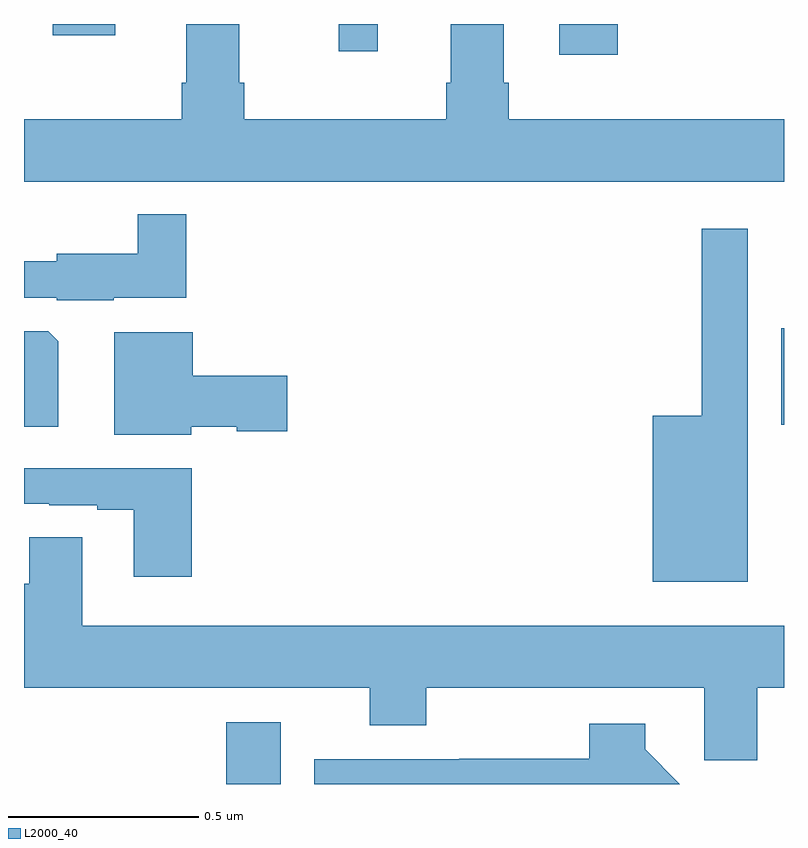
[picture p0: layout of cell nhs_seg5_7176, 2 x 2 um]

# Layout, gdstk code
import gdstk
lib = gdstk.Library(unit=1e-6, precision=1e-09)
def R(c, l, rs):  # rectangles x0, y0, x1, y1
    for r in rs: c.add(gdstk.rectangle(r[:2], r[2:], *l))
def P(c, l, *ps):  # polygons
    for p in ps: c.add(gdstk.Polygon(p, *l))
L2000_40 = (2000, 40)

nhs_seg5_7176 = lib.new_cell('nhs_seg5_7176')
R(nhs_seg5_7176, L2000_40, [(205.532,897.799,205.675,897.961), (206.993,898.745,207,898.999), (206.408,899.718,206.562,899.799), (205.828,899.727,205.931,899.799), (205.075,899.769,205.24,899.799)])
P(nhs_seg5_7176, L2000_40, [(207,899.548),(206.276,899.548),(206.276,899.644),(206.263,899.644),(206.263,899.799),(206.123,899.799),(206.123,899.644),(206.111,899.644),(206.111,899.548),(205.58,899.548),(205.58,899.644),(205.567,899.644),(205.567,899.799),(205.427,899.799),(205.427,899.644),(205.415,899.644),(205.415,899.548),(205,899.548),(205,899.384),(207,899.384)],
  [(205.236,899.078),(205.427,899.078),(205.427,899.299),(205.299,899.299),(205.299,899.194),(205.086,899.194),(205.086,899.175),(205,899.175),(205,899.079),(205.086,899.079),(205.086,899.072),(205.236,899.072)],
  [(206.905,899.26),(206.784,899.26),(206.784,898.768),(206.654,898.768),(206.654,898.331),(206.905,898.331)],
  [(205.09,898.964),(205.064,898.99),(205,898.99),(205,898.739),(205.09,898.739)],
  [(205.44,898.739),(205.56,898.739),(205.56,898.727),(205.693,898.727),(205.693,898.874),(205.444,898.874),(205.444,898.988),(205.238,898.988),(205.238,898.718),(205.44,898.718)],
  [(205.442,898.63),(205,898.63),(205,898.536),(205.066,898.536),(205.066,898.533),(205.193,898.533),(205.193,898.521),(205.289,898.521),(205.289,898.344),(205.442,898.344)],
  [(206.929,898.052),(207,898.052),(207,898.216),(205.153,898.216),(205.153,898.448),(205.014,898.448),(205.014,898.326),(205.001,898.326),(205.001,898.216),(205,898.216),(205,898.052),(205.91,898.052),(205.91,897.953),(206.058,897.953),(206.058,898.052),(206.79,898.052),(206.79,897.862),(206.929,897.862)],
  [(206.635,897.89),(206.635,897.958),(206.488,897.958),(206.488,897.866),(206.146,897.866),(206.146,897.864),(205.764,897.864),(205.764,897.799),(206.726,897.799)])

lib.write_gds('nhs_seg5_7176.gds')
